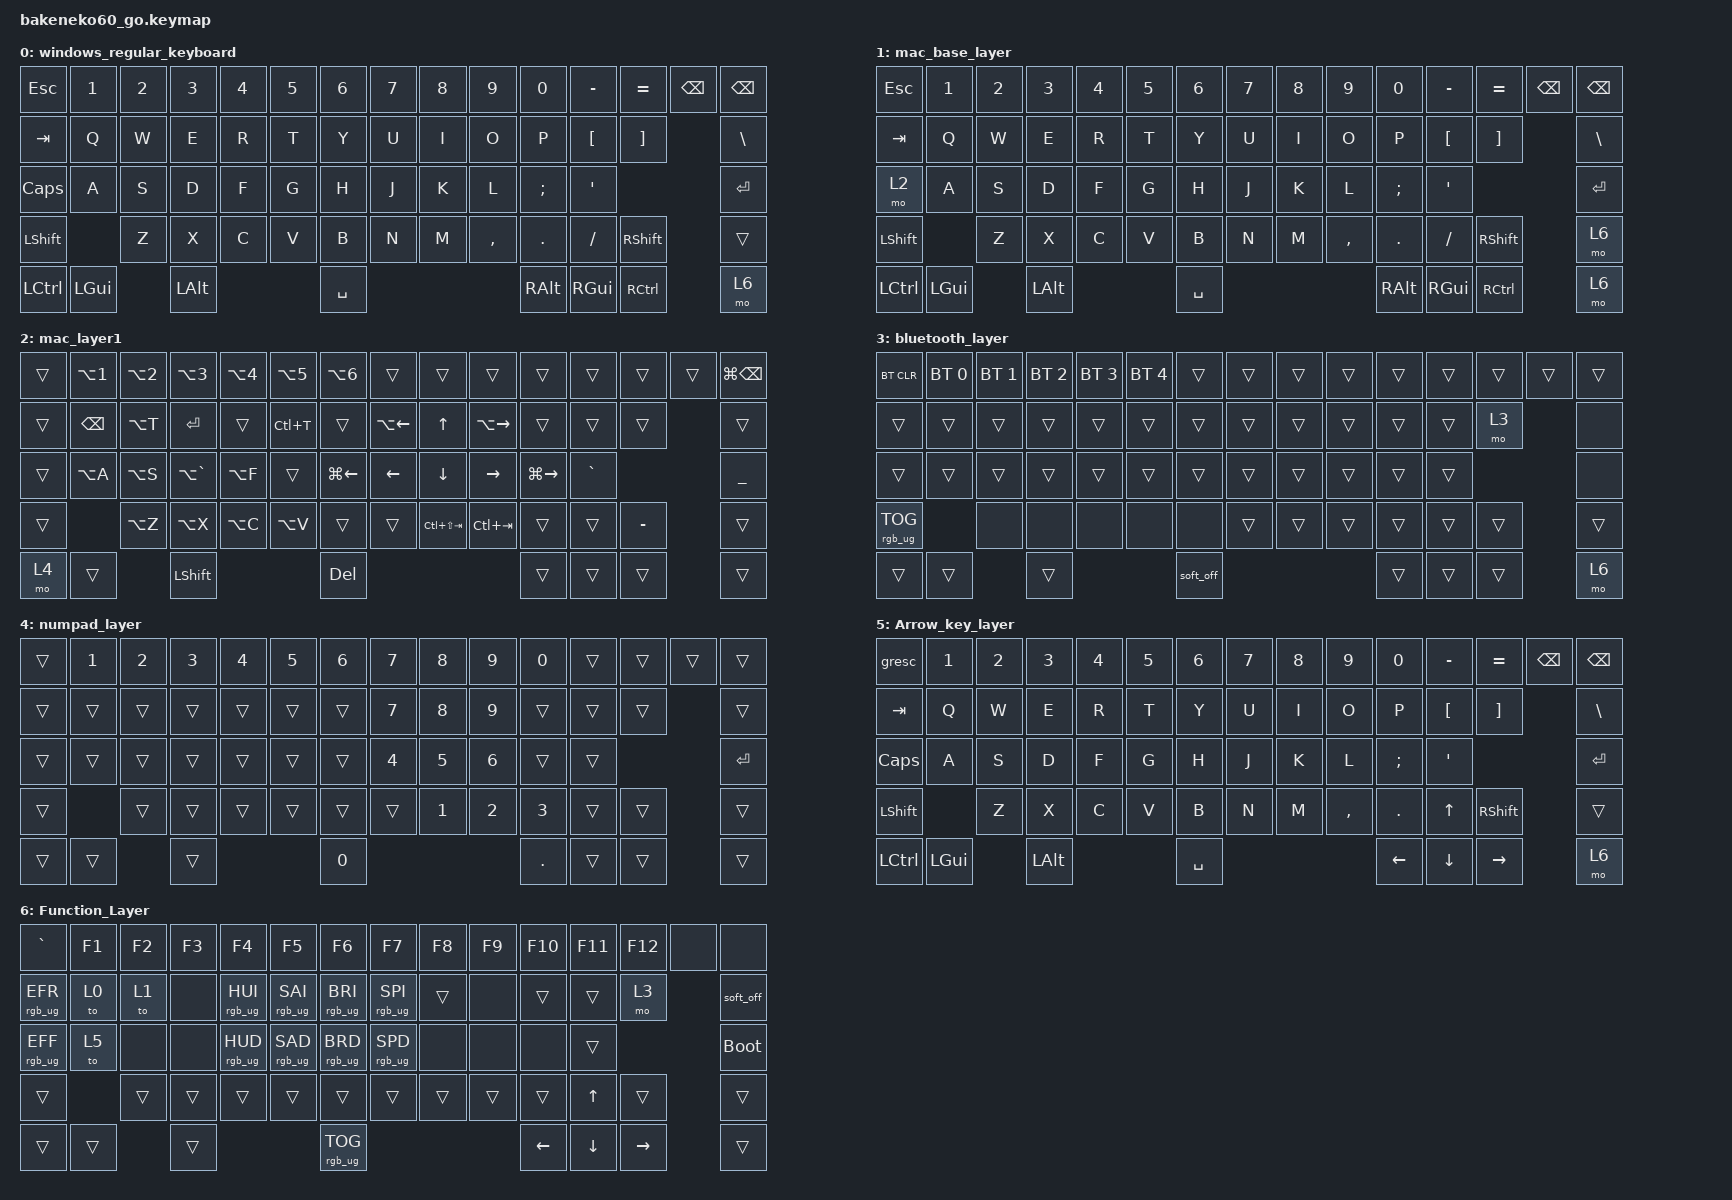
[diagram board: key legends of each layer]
/*
 * Copyright (c) 2023 Andrew Kannan
 *
 * SPDX-License-Identifier: MIT
 */

#include <behaviors.dtsi>
#include <dt-bindings/zmk/bt.h>
#include <dt-bindings/zmk/keys.h>
#include <dt-bindings/zmk/rgb.h>

/ {
    keymap {
        compatible = "zmk,keymap";

        windows_regular_keyboard {
            bindings = <
&kp ESCAPE  &kp N1    &kp N2  &kp N3    &kp N4  &kp N5  &kp N6     &kp N7  &kp N8  &kp N9     &kp N0    &kp MINUS  &kp EQUAL          &kp BSPC  &kp BSPC
&kp TAB     &kp Q     &kp W   &kp E     &kp R   &kp T   &kp Y      &kp U   &kp I   &kp O      &kp P     &kp LBKT   &kp RBKT                     &kp BSLH
&kp CAPS    &kp A     &kp S   &kp D     &kp F   &kp G   &kp H      &kp J   &kp K   &kp L      &kp SEMI  &kp SQT                                 &kp RET
&kp LSHFT             &kp Z   &kp X     &kp C   &kp V   &kp B      &kp N   &kp M   &kp COMMA  &kp DOT   &kp FSLH   &kp RSHFT                    &trans
&kp LCTRL   &kp LGUI          &kp LALT                  &kp SPACE                             &kp RALT  &kp RGUI   &kp RIGHT_CONTROL            &mo 6
            >;
        };

        mac_base_layer {
            // ------------------------------------------------------------------------------------------
            // | ESC |  1  |  2  |  3  |  4  |  5  |  6  |  7  |  8  |  9  |  0  |  -  |  =  | BKSP|BKSP|
            // | TAB  |  Q  |  W  |  E  |  R  |  T  |  Y  |  U  |  I  |  O  |  P  |  [  |  ]  |   "|"   |
            // | CAPS  |  A  |  S  |  D  |  F  |  G  |  H  |  J  |  K  |  L  |  ;  |  '  |     ENTER    |
            // |  SHIFT  |  Z  |  X  |  C  |  V  |  B  |  N  |  M  |  ,  |  .  |  /  |  SHIFT  | MO(1)  |
            // |  CTL  |  WIN  |  ALT  |            SPACE              |  ALT  |  WIN  |  MO(1) |  CTL  |
            // ------------------------------------------------------------------------------------------

            bindings = <
&kp ESCAPE  &kp N1    &kp N2  &kp N3    &kp N4  &kp N5  &kp N6     &kp N7  &kp N8  &kp N9     &kp N0    &kp MINUS  &kp EQUAL          &kp BSPC  &kp BSPC
&kp TAB     &kp Q     &kp W   &kp E     &kp R   &kp T   &kp Y      &kp U   &kp I   &kp O      &kp P     &kp LBKT   &kp RBKT                     &kp BSLH
&mo 2       &kp A     &kp S   &kp D     &kp F   &kp G   &kp H      &kp J   &kp K   &kp L      &kp SEMI  &kp SQT                                 &kp RET
&kp LSHFT             &kp Z   &kp X     &kp C   &kp V   &kp B      &kp N   &kp M   &kp COMMA  &kp DOT   &kp FSLH   &kp RSHFT                    &mo 6
&kp LCTRL   &kp LGUI          &kp LALT                  &kp SPACE                             &kp RALT  &kp RGUI   &kp RIGHT_CONTROL            &mo 6
            >;
        };

        mac_layer1 {
            // ------------------------------------------------------------------------------------------------
            // | BT CLR |     |     |     |     |     |     |     |     |     |     |    |    |       |       |
            // |  BT 1   |   |     |   |       |       |       |       |   |     |    |     |     |           |
            // |   BT 2   |    |      |    |       |       |       |       |      |      |      |  |   Reset  |
            // |    BT 3     |     |      |      |     |     |     |     |     |     |     |         |        |
            // |   BT 4  |      |      |                                    |         |       |       |       |
            // ------------------------------------------------------------------------------------------------

            bindings = <
&trans  &kp LA(NUMBER_1)  &kp LA(NUMBER_2)  &kp LA(NUMBER_3)  &kp LA(NUMBER_4)  &kp LA(N5)  &kp LA(NUMBER_6)  &trans        &trans           &trans         &trans         &trans     &trans     &trans  &kp LG(BACKSPACE)
&trans  &kp BACKSPACE     &kp LA(T)         &kp ENTER         &trans            &kp LC(T)   &trans            &kp LA(LEFT)  &kp UP_ARROW     &kp LA(RIGHT)  &trans         &trans     &trans             &trans
&trans  &kp LA(A)         &kp LA(S)         &kp LA(GRAVE)     &kp LA(F)         &trans      &kp LG(LEFT)      &kp LEFT      &kp DOWN_ARROW   &kp RIGHT      &kp LG(RIGHT)  &kp GRAVE                     &kp UNDERSCORE
&trans                    &kp LA(Z)         &kp LA(X)         &kp LA(C)         &kp LA(V)   &trans            &trans        &kp LC(LS(TAB))  &kp LC(TAB)    &trans         &trans     &kp MINUS          &trans
&mo 4   &trans                              &kp LEFT_SHIFT                                  &kp DELETE                                                      &trans         &trans     &trans             &trans
            >;
        };

        bluetooth_layer {
            // ------------------------------------------------------------------------------------------------
            // | BT CLR |     |     |     |     |     |     |     |     |     |     |    |    |       |       |
            // |  BT 1   |   |     |   |       |       |       |       |   |     |    |     |     |           |
            // |   BT 2   |    |      |    |       |       |       |       |      |      |      |  |   Reset  |
            // |    BT 3     |     |      |      |     |     |     |     |     |     |     |         |        |
            // |   BT 4  |      |      |                                    |         |       |       |       |
            // ------------------------------------------------------------------------------------------------

            bindings = <
&bt BT_CLR       &bt BT_SEL 0  &bt BT_SEL 1  &bt BT_SEL 2  &bt BT_SEL 3  &bt BT_SEL 4  &trans     &trans  &trans  &trans  &trans  &trans  &trans  &trans  &trans
&trans           &trans        &trans        &trans        &trans        &trans        &trans     &trans  &trans  &trans  &trans  &trans  &mo 3           &none
&trans           &trans        &trans        &trans        &trans        &trans        &trans     &trans  &trans  &trans  &trans  &trans                  &none
&rgb_ug RGB_TOG                &none         &none         &none         &none         &none      &trans  &trans  &trans  &trans  &trans  &trans          &trans
&trans           &trans                      &trans                                    &soft_off                          &trans  &trans  &trans          &mo 6
            >;
        };

        numpad_layer {
            bindings = <
&trans  &kp N1  &kp N2  &kp N3  &kp N4  &kp N5  &kp N6  &kp N7  &kp N8  &kp N9  &kp N0   &trans  &trans  &trans  &trans
&trans  &trans  &trans  &trans  &trans  &trans  &trans  &kp N7  &kp N8  &kp N9  &trans   &trans  &trans          &trans
&trans  &trans  &trans  &trans  &trans  &trans  &trans  &kp N4  &kp N5  &kp N6  &trans   &trans                  &kp RET
&trans          &trans  &trans  &trans  &trans  &trans  &trans  &kp N1  &kp N2  &kp N3   &trans  &trans          &trans
&trans  &trans          &trans                  &kp N0                          &kp DOT  &trans  &trans          &trans
            >;
        };

        Arrow_key_layer {
            bindings = <
&gresc     &kp N1    &kp N2  &kp N3    &kp N4  &kp N5  &kp N6     &kp N7  &kp N8  &kp N9     &kp N0    &kp MINUS     &kp EQUAL  &kp BSPC  &kp BSPC
&kp TAB    &kp Q     &kp W   &kp E     &kp R   &kp T   &kp Y      &kp U   &kp I   &kp O      &kp P     &kp LBKT      &kp RBKT             &kp BSLH
&kp CAPS   &kp A     &kp S   &kp D     &kp F   &kp G   &kp H      &kp J   &kp K   &kp L      &kp SEMI  &kp SQT                            &kp RET
&kp LSHFT            &kp Z   &kp X     &kp C   &kp V   &kp B      &kp N   &kp M   &kp COMMA  &kp DOT   &kp UP_ARROW  &kp RSHFT            &trans
&kp LCTRL  &kp LGUI          &kp LALT                  &kp SPACE                             &kp LEFT  &kp DOWN      &kp RIGHT            &mo 6
            >;
        };

        Function_Layer {
            // ------------------------------------------------------------------------------------------------
            // |    `   | F1  | F2  | F3  | F4  | F5  | F6  | F7  | F8  | F9  | F10  | F11 | F12 |     | DEL  |
            // | EFCT REV|   |  UP |   | HUEUP | SATUP | BRIUP | SPDUP |      |  PGUP |    |     |    |       |
            // | EFCT FWD | LT |  DN  | RT | HUEDN | SATDN | BRIDN | SPDDN | HOME | PGDN | END  |  | BOOTLDR  |
            // |             |     |      |      |     |     |     |     |     |     |     |         |        |
            // |         |      |      |             TOG RGB                | PRT SCR |       |       |  MO(2)|
            // ------------------------------------------------------------------------------------------------

            bindings = <
&kp GRAVE        &kp F1  &kp F2  &kp F3  &kp F4           &kp F5           &kp F6           &kp F7           &kp F8  &kp F9  &kp F10   &kp F11       &kp F12    &none  &none
&rgb_ug RGB_EFR  &to 0   &to 1   &none   &rgb_ug RGB_HUI  &rgb_ug RGB_SAI  &rgb_ug RGB_BRI  &rgb_ug RGB_SPI  &trans  &none   &trans    &trans        &mo 3             &soft_off
&rgb_ug RGB_EFF  &to 5   &none   &none   &rgb_ug RGB_HUD  &rgb_ug RGB_SAD  &rgb_ug RGB_BRD  &rgb_ug RGB_SPD  &none   &none   &none     &trans                          &bootloader
&trans                   &trans  &trans  &trans           &trans           &trans           &trans           &trans  &trans  &trans    &kp UP_ARROW  &trans            &trans
&trans           &trans          &trans                                    &rgb_ug RGB_TOG                                   &kp LEFT  &kp DOWN      &kp RIGHT         &trans
            >;
        };
    };

    combos { compatible = "zmk,combos"; };
};
